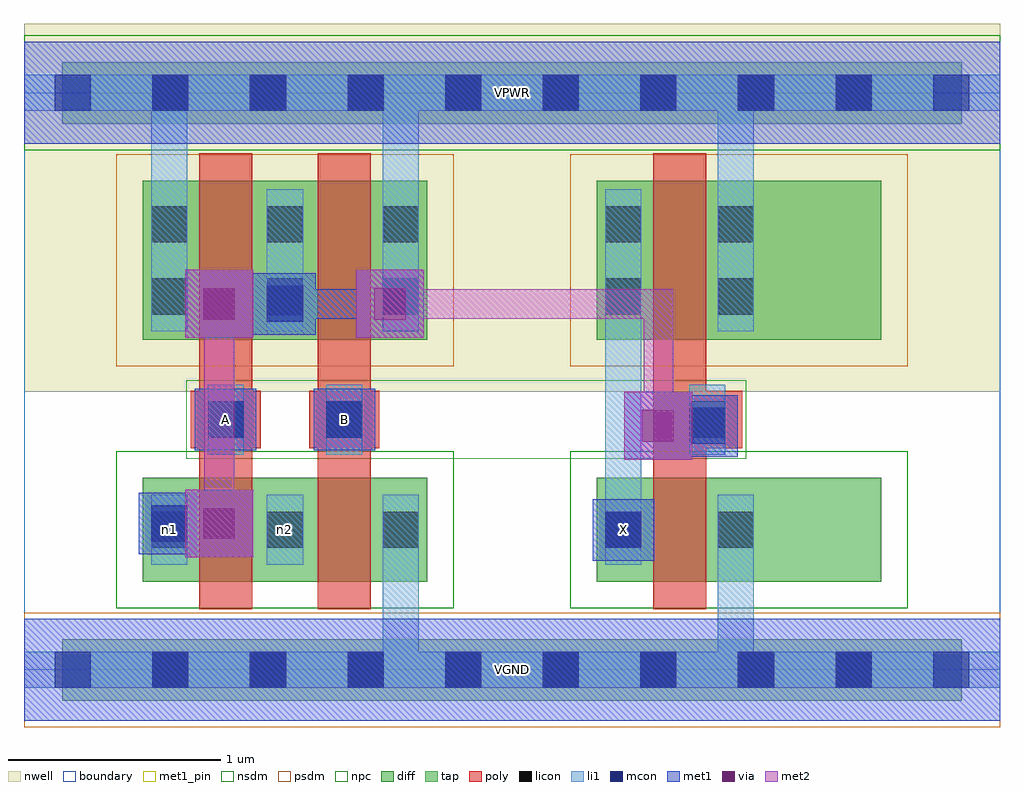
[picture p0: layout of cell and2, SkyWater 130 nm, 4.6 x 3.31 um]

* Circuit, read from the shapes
.subckt and2 A B VGND VPWR X n1 n2
XM1 n2 A n1 VGND sky130_fd_pr__nfet_01v8 w=0.49 l=0.25
XM2 VGND B n2 VGND sky130_fd_pr__nfet_01v8 w=0.49 l=0.25
XM3 VGND n1 X VGND sky130_fd_pr__nfet_01v8 w=0.49 l=0.25
XM4 n1 A VPWR VPWR sky130_fd_pr__pfet_01v8 w=0.75 l=0.25
XM5 VPWR B n1 VPWR sky130_fd_pr__pfet_01v8 w=0.75 l=0.25
XM6 VPWR n1 X VPWR sky130_fd_pr__pfet_01v8 w=0.75 l=0.25
.ends

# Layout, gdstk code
import gdstk
lib = gdstk.Library(unit=1e-6, precision=1e-09)
def R(c, l, rs):  # rectangles x0, y0, x1, y1
    for r in rs: c.add(gdstk.rectangle(r[:2], r[2:], *l))
def A(c, l, x, y, w, h, nx, ny, dx, dy):  # array of equal rectangles
    R(c, l, [(x+i*dx, y+j*dy, x+i*dx+w, y+j*dy+h) for i in range(nx) for j in range(ny)])
nwell = (64, 20)
diff = (65, 20)
tap = (65, 44)
poly = (66, 20)
licon = (66, 44)
li1 = (67, 20)
mcon = (67, 44)
met1_pin = (68, 16)
met1 = (68, 20)
via = (68, 44)
met2 = (69, 20)
nsdm = (93, 44)
psdm = (94, 20)
npc = (95, 20)
boundary = (235, 4)

and2 = lib.new_cell('and2')
R(and2, nwell, [(0,1.31,4.6,3.045)])
R(and2, diff, [(0.56,0.415,1.9,0.905), (2.7,0.415,4.04,0.905), (0.56,1.555,1.9,2.305), (2.7,1.555,4.04,2.305)])
R(and2, tap, [(0.18,-0.145,4.42,0.145), (0.18,2.575,4.42,2.865)])
R(and2, poly, [(0.825,0.285,1.075,2.435), (1.385,0.285,1.635,2.435), (2.965,0.285,3.215,2.435), (0.785,1.045,1.115,1.315), (1.345,1.045,1.675,1.315), (3.055,1.045,3.385,1.315)])
A(and2, licon, 0.605, -0.085, 0.17, 0.17, 8, 2, 0.46, 2.72)
A(and2, licon, 0.6, 0.575, 0.17, 0.17, 3, 2, 0.545, 1.1)
A(and2, licon, 0.6, 2.015, 0.17, 0.17, 3, 1, 0.545, 0)
R(and2, licon, [(2.74,0.575,2.91,0.745), (3.27,0.575,3.44,0.745), (0.865,1.095,1.035,1.265), (1.425,1.095,1.595,1.265), (3.135,1.095,3.305,1.265), (2.74,1.675,2.91,1.845), (3.27,1.675,3.44,1.845), (2.74,2.015,2.91,2.185), (3.27,2.015,3.44,2.185)])
A(and2, li1, 0.6, 0.495, 0.17, 0.33, 3, 1, 0.545, 0)
A(and2, li1, 0.6, 1.595, 0.17, 0.67, 3, 1, 0.545, 0)
R(and2, li1, [(0,-0.085,4.6,0.085), (1.69,-0.085,1.86,0.825), (3.27,-0.085,3.44,0.825), (2.74,0.495,2.91,0.825), (2.74,0.495,2.91,2.265), (3.27,0.495,3.44,0.825), (0.865,1.015,1.035,1.345), (1.425,1.015,1.595,1.345), (3.135,1.015,3.305,1.345), (0.6,1.595,0.77,2.805), (1.69,1.595,1.86,2.805), (2.74,1.595,2.91,2.265), (3.27,1.595,3.44,2.265), (3.27,1.595,3.44,2.805), (0,2.635,4.6,2.805)])
A(and2, mcon, 0.145, -0.085, 0.17, 0.17, 10, 2, 0.46, 2.72)
R(and2, mcon, [(2.74,0.575,2.91,0.745), (0.6,0.605,0.77,0.775), (3.135,1.065,3.305,1.235), (0.865,1.095,1.035,1.265), (1.425,1.095,1.595,1.265), (1.145,1.64,1.315,1.81)])
R(and2, met1_pin, [(0,-0.24,4.6,0.24), (2.68,0.515,2.97,0.805), (0.805,1.035,1.095,1.325), (1.365,1.035,1.655,1.325), (0,2.48,4.6,2.96)])
R(and2, met1, [(0,-0.24,4.6,0.24), (2.68,0.515,2.97,0.805), (0.76,0.53,1.08,0.85), (0.54,0.545,0.83,0.835), (0.615,0.62,0.875,0.76), (0.735,0.62,0.99,0.76), (2.83,0.99,3.15,1.31), (3.075,1.005,3.365,1.295), (0.805,1.035,1.095,1.325), (1.365,1.035,1.655,1.325), (2.92,1.08,3.29,1.22), (0.76,1.565,1.08,1.885), (1.565,1.565,1.885,1.885), (1.08,1.58,1.085,1.87), (1.085,1.58,1.375,1.87), (0.85,1.655,1.45,1.795), (1.16,1.655,1.45,1.795), (1.31,1.655,1.795,1.795), (0,2.48,4.6,2.96)])
R(and2, via, [(0.845,0.615,0.995,0.765), (2.915,1.075,3.065,1.225), (0.845,1.65,0.995,1.8), (1.65,1.65,1.8,1.8)])
R(and2, met2, [(0.76,0.53,1.08,0.85), (0.85,0.62,0.99,1.795), (2.83,0.99,3.15,1.31), (2.92,1.08,3.06,1.795), (0.76,1.565,1.08,1.885), (1.565,1.565,1.885,1.885), (1.655,1.655,3.06,1.795)])
R(and2, nsdm, [(0.435,0.29,2.025,1.03), (2.575,0.29,4.165,1.03), (0,2.45,4.6,2.99)])
R(and2, psdm, [(0,-0.27,4.6,0.27), (0.435,1.43,2.025,2.43), (2.575,1.43,4.165,2.43)])
R(and2, npc, [(0.765,0.995,3.405,1.365)])
R(and2, boundary, [(0,0,4.6,2.72)])
and2.add(gdstk.Label('n1', (0.685,0.66), layer=67, texttype=5))
and2.add(gdstk.Label('n2', (1.23,0.66), layer=67, texttype=5))
and2.add(gdstk.Label('A', (0.95,1.18), layer=68, texttype=5))
and2.add(gdstk.Label('B', (1.51,1.18), layer=68, texttype=5))
and2.add(gdstk.Label('X', (2.825,0.66), layer=68, texttype=5))
and2.add(gdstk.Label('VPWR', (2.3,2.72), layer=68, texttype=5))
and2.add(gdstk.Label('VGND', (2.3,0), layer=68, texttype=5))
and2.add(gdstk.Label('A', (0.95,1.18), layer=68, texttype=16))
and2.add(gdstk.Label('B', (1.51,1.18), layer=68, texttype=16))
and2.add(gdstk.Label('X', (2.825,0.66), layer=68, texttype=16))
and2.add(gdstk.Label('VPWR', (2.3,2.72), layer=68, texttype=16))
and2.add(gdstk.Label('VGND', (2.3,0), layer=68, texttype=16))

lib.write_gds('and2.gds')
